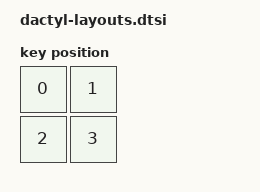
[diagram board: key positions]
/ {
  default_layout: default_layout {
	compatible = "zmk,physical-layout";
	display-name = "Default Layout";
	transform = <&defaylt_transform>;
	keys             
		= <&key_physical_attrs 100 100    0    0       0     0     0>
        , <&key_physical_attrs 100 100  100    0       0     0     0>
        , <&key_physical_attrs 100 100    0  100       0     0     0>
        , <&key_physical_attrs 100 100  100  100       0     0     0>
        ;
  };
};
